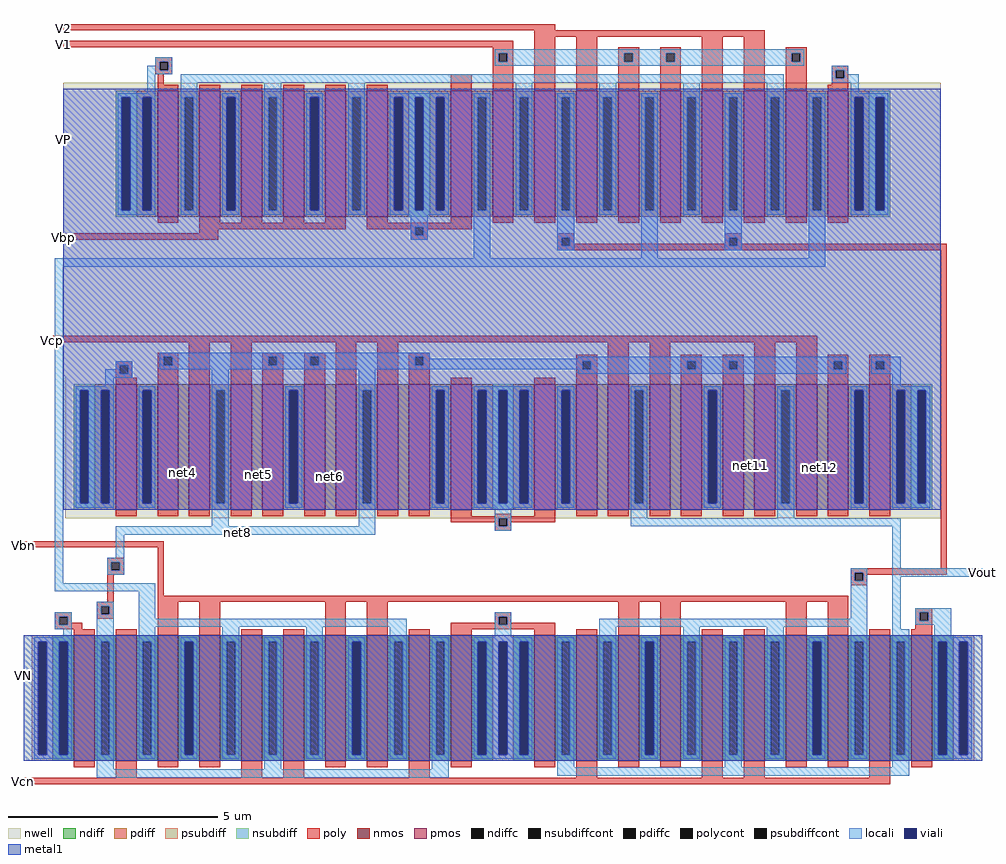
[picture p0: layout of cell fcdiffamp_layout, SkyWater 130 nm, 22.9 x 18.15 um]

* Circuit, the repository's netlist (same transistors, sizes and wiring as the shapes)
* SPICE3 file created from fcdiffamp_layout.ext - technology: sky130A

.subckt fcdiffamp_layout V1 V2 VP GND Vcp Vbp Vcn Vbn Vout
X0 net5 Vcp a_200_0# VP sky130_fd_pr__pfet_01v8 ad=7.5e+11p pd=6.5e+06u as=3e+12p ps=1.4e+07u w=3e+06u l=500000u
X1 a_400_0# V1 a_600_2600# VP sky130_fd_pr__pfet_01v8 ad=4.5e+12p pd=2.1e+07u as=1.05e+13p ps=4.9e+07u w=3e+06u l=500000u
X2 a_200_0# Vcp net6 VP sky130_fd_pr__pfet_01v8 ad=0p pd=0u as=7.5e+11p ps=6.5e+06u w=3e+06u l=500000u
X3 VP VP VP VP sky130_fd_pr__pfet_01v8 ad=2.4e+13p pd=1.12e+08u as=0p ps=0u w=3e+06u l=500000u
X4 VP VP a_400_0# VP sky130_fd_pr__pfet_01v8 ad=0p pd=0u as=0p ps=0u w=3e+06u l=500000u
X5 a_2400_2600# Vbn GND GND sky130_fd_pr__nfet_01v8 ad=6e+12p pd=2.8e+07u as=1.2e+13p ps=5.6e+07u w=3e+06u l=500000u
X6 net6 a_200_0# VP VP sky130_fd_pr__pfet_01v8 ad=0p pd=0u as=0p ps=0u w=3e+06u l=500000u
X7 Vout Vcp net11 VP sky130_fd_pr__pfet_01v8 ad=3e+12p pd=1.4e+07u as=7.5e+11p ps=6.5e+06u w=3e+06u l=500000u
X8 a_2400_2600# Vbn GND GND sky130_fd_pr__nfet_01v8 ad=0p pd=0u as=0p ps=0u w=3e+06u l=500000u
X9 a_400_0# Vbn GND GND sky130_fd_pr__nfet_01v8 ad=6e+12p pd=2.8e+07u as=0p ps=0u w=3e+06u l=500000u
X10 GND Vbn a_400_0# GND sky130_fd_pr__nfet_01v8 ad=0p pd=0u as=0p ps=0u w=3e+06u l=500000u
X11 VP VP VP VP sky130_fd_pr__pfet_01v8 ad=0p pd=0u as=0p ps=0u w=3e+06u l=500000u
X12 net11 a_200_0# VP VP sky130_fd_pr__pfet_01v8 ad=0p pd=0u as=0p ps=0u w=3e+06u l=500000u
X13 Vout GND GND GND sky130_fd_pr__nfet_01v8 ad=4.5e+12p pd=2.1e+07u as=0p ps=0u w=3e+06u l=500000u
X14 VP VP a_600_2600# VP sky130_fd_pr__pfet_01v8 ad=0p pd=0u as=0p ps=0u w=3e+06u l=500000u
X15 Vout Vcn a_2400_2600# GND sky130_fd_pr__nfet_01v8 ad=0p pd=0u as=0p ps=0u w=3e+06u l=500000u
X16 a_600_2600# V2 a_2400_2600# VP sky130_fd_pr__pfet_01v8 ad=0p pd=0u as=3e+12p ps=1.4e+07u w=3e+06u l=500000u
X17 a_200_0# Vcp net4 VP sky130_fd_pr__pfet_01v8 ad=0p pd=0u as=7.5e+11p ps=6.5e+06u w=3e+06u l=500000u
X18 VP VP VP VP sky130_fd_pr__pfet_01v8 ad=0p pd=0u as=0p ps=0u w=3e+06u l=500000u
X19 a_600_2600# Vbp VP VP sky130_fd_pr__pfet_01v8 ad=0p pd=0u as=0p ps=0u w=3e+06u l=500000u
X20 a_400_0# V1 a_600_2600# VP sky130_fd_pr__pfet_01v8 ad=0p pd=0u as=0p ps=0u w=3e+06u l=500000u
X21 net4 a_200_0# VP VP sky130_fd_pr__pfet_01v8 ad=0p pd=0u as=0p ps=0u w=3e+06u l=500000u
X22 VP a_200_0# net5 VP sky130_fd_pr__pfet_01v8 ad=0p pd=0u as=0p ps=0u w=3e+06u l=500000u
X23 GND GND a_200_0# GND sky130_fd_pr__nfet_01v8 ad=0p pd=0u as=4.5e+12p ps=2.1e+07u w=3e+06u l=500000u
X24 a_2950_1200# Vcp Vout VP sky130_fd_pr__pfet_01v8 ad=7.5e+11p pd=6.5e+06u as=0p ps=0u w=3e+06u l=500000u
X25 a_200_0# Vcn a_400_0# GND sky130_fd_pr__nfet_01v8 ad=0p pd=0u as=0p ps=0u w=3e+06u l=500000u
X26 VP a_200_0# a_1650_1200# VP sky130_fd_pr__pfet_01v8 ad=0p pd=0u as=7.5e+11p ps=6.5e+06u w=3e+06u l=500000u
X27 VP a_200_0# a_2950_1200# VP sky130_fd_pr__pfet_01v8 ad=0p pd=0u as=0p ps=0u w=3e+06u l=500000u
X28 GND Vbn a_2400_2600# GND sky130_fd_pr__nfet_01v8 ad=0p pd=0u as=0p ps=0u w=3e+06u l=500000u
X29 a_600_2600# Vbp VP VP sky130_fd_pr__pfet_01v8 ad=0p pd=0u as=0p ps=0u w=3e+06u l=500000u
X30 GND Vbn a_2400_2600# GND sky130_fd_pr__nfet_01v8 ad=0p pd=0u as=0p ps=0u w=3e+06u l=500000u
X31 a_2400_2600# V2 a_600_2600# VP sky130_fd_pr__pfet_01v8 ad=0p pd=0u as=0p ps=0u w=3e+06u l=500000u
X32 GND Vbn a_400_0# GND sky130_fd_pr__nfet_01v8 ad=0p pd=0u as=0p ps=0u w=3e+06u l=500000u
X33 VP a_200_0# net12 VP sky130_fd_pr__pfet_01v8 ad=0p pd=0u as=7.5e+11p ps=6.5e+06u w=3e+06u l=500000u
X34 a_400_0# Vcn a_200_0# GND sky130_fd_pr__nfet_01v8 ad=0p pd=0u as=0p ps=0u w=3e+06u l=500000u
X35 VP Vbp a_600_2600# VP sky130_fd_pr__pfet_01v8 ad=0p pd=0u as=0p ps=0u w=3e+06u l=500000u
X36 a_600_2600# V2 a_2400_2600# VP sky130_fd_pr__pfet_01v8 ad=0p pd=0u as=0p ps=0u w=3e+06u l=500000u
X37 VP VP VP VP sky130_fd_pr__pfet_01v8 ad=0p pd=0u as=0p ps=0u w=3e+06u l=500000u
X38 Vout Vcp a_2600_1200# VP sky130_fd_pr__pfet_01v8 ad=0p pd=0u as=7.5e+11p ps=6.5e+06u w=3e+06u l=500000u
X39 a_400_0# VP VP VP sky130_fd_pr__pfet_01v8 ad=0p pd=0u as=0p ps=0u w=3e+06u l=500000u
X40 VP Vbp a_600_2600# VP sky130_fd_pr__pfet_01v8 ad=0p pd=0u as=0p ps=0u w=3e+06u l=500000u
X41 Vout Vcn a_2400_2600# GND sky130_fd_pr__nfet_01v8 ad=0p pd=0u as=0p ps=0u w=3e+06u l=500000u
X42 a_600_2600# V1 a_400_0# VP sky130_fd_pr__pfet_01v8 ad=0p pd=0u as=0p ps=0u w=3e+06u l=500000u
X43 a_1650_1200# Vcp a_200_0# VP sky130_fd_pr__pfet_01v8 ad=0p pd=0u as=0p ps=0u w=3e+06u l=500000u
X44 a_2600_1200# a_200_0# VP VP sky130_fd_pr__pfet_01v8 ad=0p pd=0u as=0p ps=0u w=3e+06u l=500000u
X45 a_200_0# Vcn a_400_0# GND sky130_fd_pr__nfet_01v8 ad=0p pd=0u as=0p ps=0u w=3e+06u l=500000u
X46 a_600_2600# V1 a_400_0# VP sky130_fd_pr__pfet_01v8 ad=0p pd=0u as=0p ps=0u w=3e+06u l=500000u
X47 a_400_0# Vbn GND GND sky130_fd_pr__nfet_01v8 ad=0p pd=0u as=0p ps=0u w=3e+06u l=500000u
X48 a_2400_2600# V2 a_600_2600# VP sky130_fd_pr__pfet_01v8 ad=0p pd=0u as=0p ps=0u w=3e+06u l=500000u
X49 a_2400_2600# Vcn Vout GND sky130_fd_pr__nfet_01v8 ad=0p pd=0u as=0p ps=0u w=3e+06u l=500000u
X50 a_600_2600# VP VP VP sky130_fd_pr__pfet_01v8 ad=0p pd=0u as=0p ps=0u w=3e+06u l=500000u
X51 net12 Vcp Vout VP sky130_fd_pr__pfet_01v8 ad=0p pd=0u as=0p ps=0u w=3e+06u l=500000u
X52 a_2400_2600# Vcn Vout GND sky130_fd_pr__nfet_01v8 ad=0p pd=0u as=0p ps=0u w=3e+06u l=500000u
X53 a_400_0# Vcn a_200_0# GND sky130_fd_pr__nfet_01v8 ad=0p pd=0u as=0p ps=0u w=3e+06u l=500000u
X54 a_200_0# GND GND GND sky130_fd_pr__nfet_01v8 ad=0p pd=0u as=0p ps=0u w=3e+06u l=500000u
X55 GND GND Vout GND sky130_fd_pr__nfet_01v8 ad=0p pd=0u as=0p ps=0u w=3e+06u l=500000u
.ends

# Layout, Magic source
magic
tech sky130A
<< nwell >>
rect 25 920 2120 1620
rect 30 580 2120 920
<< nmos >>
rect 50 0 100 300
rect 150 0 200 300
rect 250 0 300 300
rect 350 0 400 300
rect 450 0 500 300
rect 550 0 600 300
rect 650 0 700 300
rect 750 0 800 300
rect 850 0 900 300
rect 950 0 1000 300
rect 1150 0 1200 300
rect 1250 0 1300 300
rect 1350 0 1400 300
rect 1450 0 1500 300
rect 1550 0 1600 300
rect 1650 0 1700 300
rect 1750 0 1800 300
rect 1850 0 1900 300
rect 1950 0 2000 300
rect 2050 0 2100 300
<< pmos >>
rect 250 1300 300 1600
rect 350 1300 400 1600
rect 450 1300 500 1600
rect 550 1300 600 1600
rect 650 1300 700 1600
rect 750 1300 800 1600
rect 950 1300 1000 1600
rect 1050 1300 1100 1600
rect 1150 1300 1200 1600
rect 1250 1300 1300 1600
rect 1350 1300 1400 1600
rect 1450 1300 1500 1600
rect 1550 1300 1600 1600
rect 1650 1300 1700 1600
rect 1750 1300 1800 1600
rect 1850 1300 1900 1600
rect 150 600 200 900
rect 250 600 300 900
rect 325 600 375 900
rect 425 600 475 900
rect 500 600 550 900
rect 600 600 650 900
rect 675 600 725 900
rect 775 600 825 900
rect 850 600 900 900
rect 950 600 1000 900
rect 1150 600 1200 900
rect 1250 600 1300 900
rect 1325 600 1375 900
rect 1425 600 1475 900
rect 1500 600 1550 900
rect 1600 600 1650 900
rect 1675 600 1725 900
rect 1775 600 1825 900
rect 1850 600 1900 900
rect 1950 600 2000 900
<< ndiff >>
rect 0 285 50 300
rect 0 15 15 285
rect 35 15 50 285
rect 0 0 50 15
rect 100 285 150 300
rect 100 15 115 285
rect 135 15 150 285
rect 100 0 150 15
rect 200 285 250 300
rect 200 15 215 285
rect 235 15 250 285
rect 200 0 250 15
rect 300 285 350 300
rect 300 15 315 285
rect 335 15 350 285
rect 300 0 350 15
rect 400 285 450 300
rect 400 15 415 285
rect 435 15 450 285
rect 400 0 450 15
rect 500 285 550 300
rect 500 15 515 285
rect 535 15 550 285
rect 500 0 550 15
rect 600 285 650 300
rect 600 15 615 285
rect 635 15 650 285
rect 600 0 650 15
rect 700 285 750 300
rect 700 15 715 285
rect 735 15 750 285
rect 700 0 750 15
rect 800 285 850 300
rect 800 15 815 285
rect 835 15 850 285
rect 800 0 850 15
rect 900 285 950 300
rect 900 15 915 285
rect 935 15 950 285
rect 900 0 950 15
rect 1000 285 1050 300
rect 1100 285 1150 300
rect 1000 15 1015 285
rect 1035 15 1050 285
rect 1100 15 1115 285
rect 1135 15 1150 285
rect 1000 0 1050 15
rect 1100 0 1150 15
rect 1200 285 1250 300
rect 1200 15 1215 285
rect 1235 15 1250 285
rect 1200 0 1250 15
rect 1300 285 1350 300
rect 1300 15 1315 285
rect 1335 15 1350 285
rect 1300 0 1350 15
rect 1400 285 1450 300
rect 1400 15 1415 285
rect 1435 15 1450 285
rect 1400 0 1450 15
rect 1500 285 1550 300
rect 1500 15 1515 285
rect 1535 15 1550 285
rect 1500 0 1550 15
rect 1600 285 1650 300
rect 1600 15 1615 285
rect 1635 15 1650 285
rect 1600 0 1650 15
rect 1700 285 1750 300
rect 1700 15 1715 285
rect 1735 15 1750 285
rect 1700 0 1750 15
rect 1800 285 1850 300
rect 1800 15 1815 285
rect 1835 15 1850 285
rect 1800 0 1850 15
rect 1900 285 1950 300
rect 1900 15 1915 285
rect 1935 15 1950 285
rect 1900 0 1950 15
rect 2000 285 2050 300
rect 2000 15 2015 285
rect 2035 15 2050 285
rect 2000 0 2050 15
rect 2100 285 2150 300
rect 2100 15 2115 285
rect 2135 15 2150 285
rect 2100 0 2150 15
<< pdiff >>
rect 200 1585 250 1600
rect 200 1315 215 1585
rect 235 1315 250 1585
rect 200 1300 250 1315
rect 300 1585 350 1600
rect 300 1315 315 1585
rect 335 1315 350 1585
rect 300 1300 350 1315
rect 400 1585 450 1600
rect 400 1315 415 1585
rect 435 1315 450 1585
rect 400 1300 450 1315
rect 500 1585 550 1600
rect 500 1315 515 1585
rect 535 1315 550 1585
rect 500 1300 550 1315
rect 600 1585 650 1600
rect 600 1315 615 1585
rect 635 1315 650 1585
rect 600 1300 650 1315
rect 700 1585 750 1600
rect 700 1315 715 1585
rect 735 1315 750 1585
rect 700 1300 750 1315
rect 800 1585 850 1600
rect 900 1585 950 1600
rect 800 1315 815 1585
rect 835 1315 850 1585
rect 900 1315 915 1585
rect 935 1315 950 1585
rect 800 1300 850 1315
rect 900 1300 950 1315
rect 1000 1585 1050 1600
rect 1000 1315 1015 1585
rect 1035 1315 1050 1585
rect 1000 1300 1050 1315
rect 1100 1585 1150 1600
rect 1100 1315 1115 1585
rect 1135 1315 1150 1585
rect 1100 1300 1150 1315
rect 1200 1585 1250 1600
rect 1200 1315 1215 1585
rect 1235 1315 1250 1585
rect 1200 1300 1250 1315
rect 1300 1585 1350 1600
rect 1300 1315 1315 1585
rect 1335 1315 1350 1585
rect 1300 1300 1350 1315
rect 1400 1585 1450 1600
rect 1400 1315 1415 1585
rect 1435 1315 1450 1585
rect 1400 1300 1450 1315
rect 1500 1585 1550 1600
rect 1500 1315 1515 1585
rect 1535 1315 1550 1585
rect 1500 1300 1550 1315
rect 1600 1585 1650 1600
rect 1600 1315 1615 1585
rect 1635 1315 1650 1585
rect 1600 1300 1650 1315
rect 1700 1585 1750 1600
rect 1700 1315 1715 1585
rect 1735 1315 1750 1585
rect 1700 1300 1750 1315
rect 1800 1585 1850 1600
rect 1800 1315 1815 1585
rect 1835 1315 1850 1585
rect 1800 1300 1850 1315
rect 1900 1585 1950 1600
rect 1900 1315 1915 1585
rect 1935 1315 1950 1585
rect 1900 1300 1950 1315
rect 100 885 150 900
rect 100 615 115 885
rect 135 615 150 885
rect 100 600 150 615
rect 200 885 250 900
rect 200 615 215 885
rect 235 615 250 885
rect 200 600 250 615
rect 300 600 325 900
rect 375 885 425 900
rect 375 615 390 885
rect 410 615 425 885
rect 375 600 425 615
rect 475 600 500 900
rect 550 885 600 900
rect 550 615 565 885
rect 585 615 600 885
rect 550 600 600 615
rect 650 600 675 900
rect 725 885 775 900
rect 725 615 740 885
rect 760 615 775 885
rect 725 600 775 615
rect 825 600 850 900
rect 900 885 950 900
rect 900 615 915 885
rect 935 615 950 885
rect 900 600 950 615
rect 1000 885 1050 900
rect 1100 885 1150 900
rect 1000 615 1015 885
rect 1035 615 1050 885
rect 1100 615 1115 885
rect 1135 615 1150 885
rect 1000 600 1050 615
rect 1100 600 1150 615
rect 1200 885 1250 900
rect 1200 615 1215 885
rect 1235 615 1250 885
rect 1200 600 1250 615
rect 1300 600 1325 900
rect 1375 885 1425 900
rect 1375 615 1390 885
rect 1410 615 1425 885
rect 1375 600 1425 615
rect 1475 600 1500 900
rect 1550 885 1600 900
rect 1550 615 1565 885
rect 1585 615 1600 885
rect 1550 600 1600 615
rect 1650 600 1675 900
rect 1725 885 1775 900
rect 1725 615 1740 885
rect 1760 615 1775 885
rect 1725 600 1775 615
rect 1825 600 1850 900
rect 1900 885 1950 900
rect 1900 615 1915 885
rect 1935 615 1950 885
rect 1900 600 1950 615
rect 2000 885 2050 900
rect 2000 615 2015 885
rect 2035 615 2050 885
rect 2000 600 2050 615
<< ndiffc >>
rect 15 15 35 285
rect 115 15 135 285
rect 215 15 235 285
rect 315 15 335 285
rect 415 15 435 285
rect 515 15 535 285
rect 615 15 635 285
rect 715 15 735 285
rect 815 15 835 285
rect 915 15 935 285
rect 1015 15 1035 285
rect 1115 15 1135 285
rect 1215 15 1235 285
rect 1315 15 1335 285
rect 1415 15 1435 285
rect 1515 15 1535 285
rect 1615 15 1635 285
rect 1715 15 1735 285
rect 1815 15 1835 285
rect 1915 15 1935 285
rect 2015 15 2035 285
rect 2115 15 2135 285
<< pdiffc >>
rect 215 1315 235 1585
rect 315 1315 335 1585
rect 415 1315 435 1585
rect 515 1315 535 1585
rect 615 1315 635 1585
rect 715 1315 735 1585
rect 815 1315 835 1585
rect 915 1315 935 1585
rect 1015 1315 1035 1585
rect 1115 1315 1135 1585
rect 1215 1315 1235 1585
rect 1315 1315 1335 1585
rect 1415 1315 1435 1585
rect 1515 1315 1535 1585
rect 1615 1315 1635 1585
rect 1715 1315 1735 1585
rect 1815 1315 1835 1585
rect 1915 1315 1935 1585
rect 115 615 135 885
rect 215 615 235 885
rect 390 615 410 885
rect 565 615 585 885
rect 740 615 760 885
rect 915 615 935 885
rect 1015 615 1035 885
rect 1115 615 1135 885
rect 1215 615 1235 885
rect 1390 615 1410 885
rect 1565 615 1585 885
rect 1740 615 1760 885
rect 1915 615 1935 885
rect 2015 615 2035 885
<< psubdiff >>
rect -50 285 0 300
rect -50 15 -35 285
rect -15 15 0 285
rect -50 0 0 15
rect 1050 285 1100 300
rect 1050 15 1065 285
rect 1085 15 1100 285
rect 1050 0 1100 15
rect 2150 285 2200 300
rect 2150 15 2165 285
rect 2185 15 2200 285
rect 2150 0 2200 15
<< nsubdiff >>
rect 150 1585 200 1600
rect 150 1315 165 1585
rect 185 1315 200 1585
rect 150 1300 200 1315
rect 850 1585 900 1600
rect 850 1315 865 1585
rect 885 1315 900 1585
rect 850 1300 900 1315
rect 1950 1585 2000 1600
rect 1950 1315 1965 1585
rect 1985 1315 2000 1585
rect 1950 1300 2000 1315
rect 50 885 100 900
rect 50 615 65 885
rect 85 615 100 885
rect 50 600 100 615
rect 1050 885 1100 900
rect 1050 615 1065 885
rect 1085 615 1100 885
rect 1050 600 1100 615
rect 2050 885 2100 900
rect 2050 615 2065 885
rect 2085 615 2100 885
rect 2050 600 2100 615
<< psubdiffcont >>
rect -35 15 -15 285
rect 1065 15 1085 285
rect 2165 15 2185 285
<< nsubdiffcont >>
rect 165 1315 185 1585
rect 865 1315 885 1585
rect 1965 1315 1985 1585
rect 65 615 85 885
rect 1065 615 1085 885
rect 2065 615 2085 885
<< poly >>
rect 25 1745 1200 1760
rect 1150 1730 1700 1745
rect 25 1705 1100 1720
rect 1050 1690 1100 1705
rect 245 1670 285 1680
rect 245 1650 255 1670
rect 275 1650 285 1670
rect 245 1640 285 1650
rect 1050 1670 1065 1690
rect 1085 1670 1100 1690
rect 250 1615 265 1640
rect 250 1600 300 1615
rect 350 1600 400 1615
rect 450 1600 500 1615
rect 550 1600 600 1615
rect 650 1600 700 1615
rect 750 1600 800 1615
rect 950 1600 1000 1640
rect 1050 1600 1100 1670
rect 1150 1600 1200 1730
rect 1250 1600 1300 1730
rect 1350 1690 1400 1705
rect 1350 1670 1365 1690
rect 1385 1670 1400 1690
rect 1350 1600 1400 1670
rect 1450 1690 1500 1705
rect 1450 1670 1465 1690
rect 1485 1670 1500 1690
rect 1450 1600 1500 1670
rect 1550 1600 1600 1730
rect 1650 1600 1700 1730
rect 1750 1690 1800 1705
rect 1750 1670 1765 1690
rect 1785 1670 1800 1690
rect 1750 1600 1800 1670
rect 1860 1650 1900 1660
rect 1860 1630 1870 1650
rect 1890 1630 1900 1650
rect 1860 1615 1900 1630
rect 1850 1600 1900 1615
rect 250 1285 300 1300
rect 350 1285 400 1300
rect 450 1285 500 1300
rect 550 1285 600 1300
rect 650 1285 700 1300
rect 350 1270 700 1285
rect 750 1285 800 1300
rect 950 1285 1000 1300
rect 1050 1285 1100 1300
rect 1150 1285 1200 1300
rect 1250 1285 1300 1300
rect 1350 1285 1400 1300
rect 1450 1285 1500 1300
rect 1550 1285 1600 1300
rect 1650 1285 1700 1300
rect 1750 1285 1800 1300
rect 1850 1285 1900 1300
rect 750 1275 1000 1285
rect 750 1270 865 1275
rect 350 1260 395 1270
rect 25 1245 395 1260
rect 855 1255 865 1270
rect 885 1270 1000 1275
rect 885 1255 895 1270
rect 855 1245 895 1255
rect 1205 1250 1245 1260
rect 1205 1230 1215 1250
rect 1235 1235 1245 1250
rect 1605 1250 1645 1260
rect 1605 1235 1615 1250
rect 1235 1230 1615 1235
rect 1635 1235 1645 1250
rect 1635 1230 2135 1235
rect 1205 1220 2135 1230
rect 0 1000 1825 1015
rect 250 965 300 975
rect 150 945 190 955
rect 150 925 160 945
rect 180 925 190 945
rect 150 915 190 925
rect 250 945 265 965
rect 285 945 300 965
rect 150 900 200 915
rect 250 900 300 945
rect 325 900 375 1000
rect 425 900 475 1000
rect 500 965 550 975
rect 500 945 515 965
rect 535 945 550 965
rect 500 900 550 945
rect 600 965 650 975
rect 600 945 615 965
rect 635 945 650 965
rect 600 900 650 945
rect 675 900 725 1000
rect 775 900 825 1000
rect 850 965 900 975
rect 850 945 865 965
rect 885 945 900 965
rect 850 900 900 945
rect 1250 955 1300 970
rect 1250 935 1265 955
rect 1285 935 1300 955
rect 950 900 1000 915
rect 1150 900 1200 915
rect 1250 900 1300 935
rect 1325 900 1375 1000
rect 1425 900 1475 1000
rect 1500 955 1550 970
rect 1500 935 1515 955
rect 1535 935 1550 955
rect 1500 900 1550 935
rect 1600 955 1650 970
rect 1600 935 1615 955
rect 1635 935 1650 955
rect 1600 900 1650 935
rect 1675 900 1725 1000
rect 1775 900 1825 1000
rect 1850 955 1900 970
rect 1850 935 1865 955
rect 1885 935 1900 955
rect 1850 900 1900 935
rect 1950 955 2000 970
rect 1950 935 1965 955
rect 1985 935 2000 955
rect 1950 900 2000 935
rect 150 585 200 600
rect 250 585 300 600
rect 325 585 375 600
rect 425 585 475 600
rect 500 585 550 600
rect 600 585 650 600
rect 675 585 725 600
rect 775 585 825 600
rect 850 585 900 600
rect 950 585 1000 600
rect 1055 585 1095 590
rect 1150 585 1200 600
rect 1250 585 1300 600
rect 1325 585 1375 600
rect 1425 585 1475 600
rect 1500 585 1550 600
rect 1600 585 1650 600
rect 1675 585 1725 600
rect 1775 585 1825 600
rect 1850 585 1900 600
rect 1950 585 2000 600
rect 950 580 1200 585
rect 950 570 1065 580
rect 1055 560 1065 570
rect 1085 570 1200 580
rect 1085 560 1095 570
rect 1055 550 1095 560
rect -70 510 265 525
rect 130 475 170 485
rect 130 455 140 475
rect 160 455 170 475
rect 130 445 170 455
rect 130 380 145 445
rect 105 370 145 380
rect 5 345 45 355
rect 5 325 15 345
rect 35 330 45 345
rect 105 350 115 370
rect 135 350 145 370
rect 105 340 145 350
rect 250 395 265 510
rect 2120 460 2135 1220
rect 1905 450 2135 460
rect 1905 430 1915 450
rect 1935 445 2135 450
rect 1935 430 1945 445
rect 1905 420 1945 430
rect 250 380 1900 395
rect 35 325 70 330
rect 5 315 70 325
rect 50 300 100 315
rect 150 300 200 315
rect 250 300 300 380
rect 350 300 400 380
rect 450 300 500 315
rect 550 300 600 315
rect 650 300 700 380
rect 750 300 800 380
rect 1055 345 1095 355
rect 1055 330 1065 345
rect 950 325 1065 330
rect 1085 330 1095 345
rect 1085 325 1200 330
rect 950 315 1200 325
rect 850 300 900 315
rect 950 300 1000 315
rect 1150 300 1200 315
rect 1250 300 1300 315
rect 1350 300 1400 380
rect 1450 300 1500 380
rect 1550 300 1600 315
rect 1650 300 1700 315
rect 1750 300 1800 380
rect 1850 300 1900 380
rect 2060 355 2100 365
rect 2060 335 2070 355
rect 2090 335 2100 355
rect 2060 315 2100 335
rect 1950 300 2000 315
rect 2050 300 2100 315
rect 50 -15 100 0
rect 150 -40 200 0
rect 250 -15 300 0
rect 350 -15 400 0
rect 450 -40 500 0
rect 550 -40 600 0
rect 650 -15 700 0
rect 750 -15 800 0
rect 850 -40 900 0
rect 950 -15 1000 0
rect 1150 -15 1200 0
rect 1250 -40 1300 0
rect 1350 -15 1400 0
rect 1450 -15 1500 0
rect 1550 -40 1600 0
rect 1650 -40 1700 0
rect 1750 -15 1800 0
rect 1850 -15 1900 0
rect 1950 -40 2000 0
rect 2050 -15 2100 0
rect -70 -55 2000 -40
<< polycont >>
rect 255 1650 275 1670
rect 1065 1670 1085 1690
rect 1365 1670 1385 1690
rect 1465 1670 1485 1690
rect 1765 1670 1785 1690
rect 1870 1630 1890 1650
rect 865 1255 885 1275
rect 1215 1230 1235 1250
rect 1615 1230 1635 1250
rect 160 925 180 945
rect 265 945 285 965
rect 515 945 535 965
rect 615 945 635 965
rect 865 945 885 965
rect 1265 935 1285 955
rect 1515 935 1535 955
rect 1615 935 1635 955
rect 1865 935 1885 955
rect 1965 935 1985 955
rect 1065 560 1085 580
rect 140 455 160 475
rect 15 325 35 345
rect 115 350 135 370
rect 1915 430 1935 450
rect 1065 325 1085 345
rect 2070 335 2090 355
<< locali >>
rect 1055 1690 1795 1700
rect 245 1670 285 1680
rect 245 1660 255 1670
rect 225 1650 255 1660
rect 275 1650 285 1670
rect 1055 1670 1065 1690
rect 1085 1670 1365 1690
rect 1385 1670 1465 1690
rect 1485 1670 1765 1690
rect 1785 1670 1795 1690
rect 1055 1660 1795 1670
rect 225 1640 285 1650
rect 1860 1650 1900 1660
rect 225 1595 245 1640
rect 155 1585 245 1595
rect 155 1315 165 1585
rect 185 1315 215 1585
rect 235 1315 245 1585
rect 155 1305 245 1315
rect 305 1620 1745 1640
rect 1860 1630 1870 1650
rect 1890 1640 1900 1650
rect 1890 1630 1925 1640
rect 1860 1620 1925 1630
rect 305 1585 345 1620
rect 305 1315 315 1585
rect 335 1315 345 1585
rect 305 1305 345 1315
rect 405 1585 445 1595
rect 405 1315 415 1585
rect 435 1315 445 1585
rect 405 1305 445 1315
rect 505 1585 545 1620
rect 505 1315 515 1585
rect 535 1315 545 1585
rect 505 1305 545 1315
rect 605 1585 645 1595
rect 605 1315 615 1585
rect 635 1315 645 1585
rect 605 1305 645 1315
rect 705 1585 745 1620
rect 705 1315 715 1585
rect 735 1315 745 1585
rect 705 1305 745 1315
rect 805 1585 945 1595
rect 805 1315 815 1585
rect 835 1315 865 1585
rect 885 1315 915 1585
rect 935 1315 945 1585
rect 805 1305 945 1315
rect 1005 1585 1045 1595
rect 1005 1315 1015 1585
rect 1035 1315 1045 1585
rect 855 1275 895 1305
rect 855 1255 865 1275
rect 885 1255 895 1275
rect 855 1245 895 1255
rect 1005 1200 1045 1315
rect 1105 1585 1145 1620
rect 1105 1315 1115 1585
rect 1135 1315 1145 1585
rect 1105 1305 1145 1315
rect 1205 1585 1245 1595
rect 1205 1315 1215 1585
rect 1235 1315 1245 1585
rect 1205 1250 1245 1315
rect 1305 1585 1345 1620
rect 1305 1315 1315 1585
rect 1335 1315 1345 1585
rect 1305 1305 1345 1315
rect 1405 1585 1445 1595
rect 1405 1315 1415 1585
rect 1435 1315 1445 1585
rect 1205 1230 1215 1250
rect 1235 1230 1245 1250
rect 1205 1220 1245 1230
rect 1405 1200 1445 1315
rect 1505 1585 1545 1620
rect 1505 1315 1515 1585
rect 1535 1315 1545 1585
rect 1505 1305 1545 1315
rect 1605 1585 1645 1595
rect 1605 1315 1615 1585
rect 1635 1315 1645 1585
rect 1605 1250 1645 1315
rect 1705 1585 1745 1620
rect 1905 1595 1925 1620
rect 1705 1315 1715 1585
rect 1735 1315 1745 1585
rect 1705 1305 1745 1315
rect 1805 1585 1845 1595
rect 1805 1315 1815 1585
rect 1835 1315 1845 1585
rect 1605 1230 1615 1250
rect 1635 1230 1645 1250
rect 1605 1220 1645 1230
rect 1805 1200 1845 1315
rect 1905 1585 1995 1595
rect 1905 1315 1915 1585
rect 1935 1315 1965 1585
rect 1985 1315 1995 1585
rect 1905 1305 1995 1315
rect 5 1180 1845 1200
rect 5 425 25 1180
rect 255 965 900 975
rect 150 945 190 955
rect 150 935 160 945
rect 125 925 160 935
rect 180 925 190 945
rect 255 945 265 965
rect 285 945 515 965
rect 535 945 615 965
rect 635 945 865 965
rect 885 960 900 965
rect 1255 960 1895 965
rect 885 955 1895 960
rect 885 945 1265 955
rect 255 935 1265 945
rect 1285 935 1515 955
rect 1535 935 1615 955
rect 1635 935 1865 955
rect 1885 935 1895 955
rect 125 915 190 925
rect 125 895 145 915
rect 55 885 145 895
rect 55 615 65 885
rect 85 615 115 885
rect 135 615 145 885
rect 55 605 145 615
rect 205 885 245 895
rect 205 615 215 885
rect 235 615 245 885
rect 205 605 245 615
rect 380 885 420 935
rect 380 615 390 885
rect 410 615 420 885
rect 380 560 420 615
rect 555 885 595 895
rect 555 615 565 885
rect 585 615 595 885
rect 555 605 595 615
rect 730 885 770 935
rect 1255 925 1895 935
rect 1955 955 2025 965
rect 1955 935 1965 955
rect 1985 935 2025 955
rect 1955 925 2025 935
rect 2005 895 2025 925
rect 730 615 740 885
rect 760 615 770 885
rect 730 560 770 615
rect 905 885 945 895
rect 905 615 915 885
rect 935 615 945 885
rect 905 605 945 615
rect 1005 885 1145 895
rect 1005 615 1015 885
rect 1035 615 1065 885
rect 1085 615 1115 885
rect 1135 615 1145 885
rect 1005 605 1145 615
rect 1205 885 1245 895
rect 1205 615 1215 885
rect 1235 615 1245 885
rect 1205 605 1245 615
rect 1380 885 1420 895
rect 1380 615 1390 885
rect 1410 615 1420 885
rect 150 540 770 560
rect 1055 580 1095 605
rect 1055 560 1065 580
rect 1085 560 1095 580
rect 1380 580 1420 615
rect 1555 885 1595 895
rect 1555 615 1565 885
rect 1585 615 1595 885
rect 1555 605 1595 615
rect 1730 885 1770 895
rect 1730 615 1740 885
rect 1760 615 1770 885
rect 1730 580 1770 615
rect 1905 885 1945 895
rect 1905 615 1915 885
rect 1935 615 1945 885
rect 1905 605 1945 615
rect 2005 885 2095 895
rect 2005 615 2015 885
rect 2035 615 2065 885
rect 2085 615 2095 885
rect 2005 605 2095 615
rect 1380 560 2025 580
rect 1055 550 1095 560
rect 150 485 170 540
rect 130 475 170 485
rect 130 455 140 475
rect 160 455 170 475
rect 2005 460 2025 560
rect 130 445 170 455
rect 1905 450 1945 460
rect 1905 430 1915 450
rect 1935 430 1945 450
rect 5 405 245 425
rect 105 370 145 380
rect 5 345 45 355
rect 5 325 15 345
rect 35 325 45 345
rect 5 315 45 325
rect 25 295 45 315
rect -45 285 45 295
rect -45 15 -35 285
rect -15 15 15 285
rect 35 15 45 285
rect -45 5 45 15
rect 105 350 115 370
rect 135 350 145 370
rect 105 285 145 350
rect 105 15 115 285
rect 135 15 145 285
rect 105 -20 145 15
rect 205 340 245 405
rect 1055 345 1095 355
rect 205 320 845 340
rect 205 285 245 320
rect 205 15 215 285
rect 235 15 245 285
rect 205 5 245 15
rect 305 285 345 295
rect 305 15 315 285
rect 335 15 345 285
rect 305 5 345 15
rect 405 285 445 320
rect 405 15 415 285
rect 435 15 445 285
rect 405 5 445 15
rect 505 285 545 295
rect 505 15 515 285
rect 535 15 545 285
rect 505 -20 545 15
rect 605 285 645 320
rect 605 15 615 285
rect 635 15 645 285
rect 605 5 645 15
rect 705 285 745 295
rect 705 15 715 285
rect 735 15 745 285
rect 705 5 745 15
rect 805 285 845 320
rect 1055 325 1065 345
rect 1085 325 1095 345
rect 1905 340 1945 430
rect 1055 295 1095 325
rect 1305 320 1945 340
rect 805 15 815 285
rect 835 15 845 285
rect 805 5 845 15
rect 905 285 945 295
rect 905 15 915 285
rect 935 15 945 285
rect 905 -20 945 15
rect 1005 285 1145 295
rect 1005 15 1015 285
rect 1035 15 1065 285
rect 1085 15 1115 285
rect 1135 15 1145 285
rect 1005 5 1145 15
rect 1205 285 1245 295
rect 1205 15 1215 285
rect 1235 15 1245 285
rect 105 -40 945 -20
rect 1205 -15 1245 15
rect 1305 285 1345 320
rect 1305 15 1315 285
rect 1335 15 1345 285
rect 1305 5 1345 15
rect 1405 285 1445 295
rect 1405 15 1415 285
rect 1435 15 1445 285
rect 1405 5 1445 15
rect 1505 285 1545 320
rect 1505 15 1515 285
rect 1535 15 1545 285
rect 1505 5 1545 15
rect 1605 285 1645 295
rect 1605 15 1615 285
rect 1635 15 1645 285
rect 1605 -15 1645 15
rect 1705 285 1745 320
rect 1705 15 1715 285
rect 1735 15 1745 285
rect 1705 5 1745 15
rect 1805 285 1845 295
rect 1805 15 1815 285
rect 1835 15 1845 285
rect 1805 5 1845 15
rect 1905 285 1945 320
rect 1905 15 1915 285
rect 1935 15 1945 285
rect 1905 5 1945 15
rect 2005 440 2220 460
rect 2005 315 2025 440
rect 2060 355 2145 365
rect 2060 335 2070 355
rect 2090 335 2145 355
rect 2060 325 2145 335
rect 2005 285 2045 315
rect 2005 15 2015 285
rect 2035 15 2045 285
rect 2005 -15 2045 15
rect 2105 295 2145 325
rect 2105 285 2195 295
rect 2105 15 2115 285
rect 2135 15 2165 285
rect 2185 15 2195 285
rect 2105 5 2195 15
rect 1205 -35 2045 -15
<< viali >>
rect 165 1315 185 1585
rect 215 1315 235 1585
rect 415 1315 435 1585
rect 615 1315 635 1585
rect 815 1315 835 1585
rect 865 1315 885 1585
rect 915 1315 935 1585
rect 1915 1315 1935 1585
rect 1965 1315 1985 1585
rect 65 615 85 885
rect 115 615 135 885
rect 215 615 235 885
rect 565 615 585 885
rect 915 615 935 885
rect 1015 615 1035 885
rect 1065 615 1085 885
rect 1115 615 1135 885
rect 1215 615 1235 885
rect 1565 615 1585 885
rect 1915 615 1935 885
rect 2015 615 2035 885
rect 2065 615 2085 885
rect -35 15 -15 285
rect 15 15 35 285
rect 315 15 335 285
rect 715 15 735 285
rect 1015 15 1035 285
rect 1065 15 1085 285
rect 1115 15 1135 285
rect 1415 15 1435 285
rect 1815 15 1835 285
rect 2115 15 2135 285
rect 2165 15 2185 285
<< metal1 >>
rect 25 1585 2120 1605
rect 25 1315 165 1585
rect 185 1315 215 1585
rect 235 1315 415 1585
rect 435 1315 615 1585
rect 635 1315 815 1585
rect 835 1315 865 1585
rect 885 1315 915 1585
rect 935 1315 1915 1585
rect 1935 1315 1965 1585
rect 1985 1315 2120 1585
rect 25 885 2120 1315
rect 25 615 65 885
rect 85 615 115 885
rect 135 615 215 885
rect 235 615 565 885
rect 585 615 915 885
rect 935 615 1015 885
rect 1035 615 1065 885
rect 1085 615 1115 885
rect 1135 615 1215 885
rect 1235 615 1565 885
rect 1585 615 1915 885
rect 1935 615 2015 885
rect 2035 615 2065 885
rect 2085 615 2120 885
rect 25 600 2120 615
rect -70 285 2220 300
rect -70 15 -35 285
rect -15 15 15 285
rect 35 15 315 285
rect 335 15 715 285
rect 735 15 1015 285
rect 1035 15 1065 285
rect 1085 15 1115 285
rect 1135 15 1415 285
rect 1435 15 1815 285
rect 1835 15 2115 285
rect 2135 15 2165 285
rect 2185 15 2220 285
rect -70 0 2220 15
<< labels >>
rlabel poly 25 1750 25 1750 7 V2
port 2 w
rlabel poly 25 1710 25 1710 7 V1
port 1 w
rlabel locali 2220 450 2220 450 3 Vout
port 9 e
rlabel poly -70 515 -70 515 7 Vbn
port 8 w
rlabel poly -70 -50 -70 -50 7 Vcn
port 7 w
rlabel poly 25 1250 25 1250 7 Vbp
port 6 w
rlabel poly 0 1005 0 1005 7 Vcp
port 5 w
rlabel metal1 25 1485 25 1485 7 VP
port 3 w
rlabel pdiff 1830 700 1830 700 7 net12
rlabel pdiff 1665 705 1665 705 7 net11
rlabel pdiff 310 690 310 690 7 net4
rlabel pdiff 490 685 490 685 7 net5
rlabel pdiff 660 680 660 680 7 net6
rlabel metal1 -70 205 -70 205 7 VN
port 4 w
rlabel locali 440 545 440 545 7 net8
<< end >>
